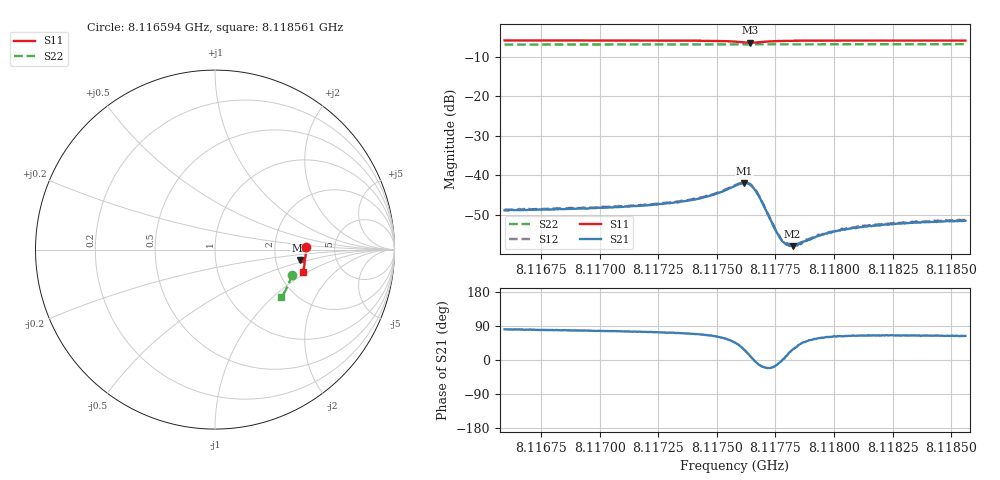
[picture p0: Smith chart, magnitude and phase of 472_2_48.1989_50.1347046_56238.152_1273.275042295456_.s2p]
#  HZ  S  RI  R  50.00
! Rohde & Schwarz Vector Network Analyzer
! Rohde-Schwarz,ZNB20-2Port,1311601062101988,3.16
! Created: UTC 3/20/2024, 11:57:11 AM
! freq[Hz]  re:S11  im:S11  re:S21  im:S21  re:S12  im:S12  re:S22  im:S22
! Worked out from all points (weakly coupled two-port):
!   401 points, 8.116594 GHz to 8.118561 GHz, reference 50 ohm
!   highest |S21| = -41.92 dB at 8.117617 GHz (marker M1); lowest = -57.9 dB at 8.117823 GHz (marker M2)
!   lowest |S11| = -6.5 dB at 8.117641 GHz (marker M3), VSWR 2.81, Z = 137 - j20.4 ohm
!   |S11| at or under -10 dB: nowhere
!   |S22| runs from -6.9 to -6.8 dB; largest |S21 - S12| = 0.00023
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8.1165943e9  0.5071 0.0149  0.00057 0.00358  0.000592 0.00365  0.4275 -0.1413
8.1169237e9  0.5068 -0.0105  0.000815 0.00373  0.000847 0.00383  0.4206 -0.1634
8.117253e9  0.5045 -0.0371  0.00127 0.00416  0.00134 0.00424  0.4126 -0.1848
8.1174398e9  0.5004 -0.0545  0.00207 0.00483  0.00213 0.00487  0.4074 -0.1969
8.1175185e9  0.4954 -0.0634  0.00316 0.00533  0.00322 0.00536  0.4048 -0.2022
8.1175774e9  0.4858 -0.069  0.00513 0.00529  0.00529 0.00535  0.4029 -0.2058
8.1176168e9  0.4753 -0.0657  0.00714 0.00365  0.00731 0.00372  0.4013 -0.2079
8.1176413e9  0.4717 -0.0577  0.00751 0.00146  0.00765 0.00145  0.4004 -0.2089
8.117661e9  0.4742 -0.0507  0.00666 -0.000275  0.00685 -0.000307  0.4003 -0.2098
8.1176807e9  0.48 -0.047  0.00523 -0.00121  0.00536 -0.00128  0.3999 -0.2109
8.1177495e9  0.4947 -0.0526  0.00199 -0.000558  0.00201 -0.000584  0.3985 -0.2155
8.1177691e9  0.4966 -0.0554  0.00162 -0.000174  0.00167 -0.000214  0.398 -0.2168
8.1177839e9  0.4975 -0.0575  0.00144 7.39e-05  0.00148 8e-05  0.3975 -0.2179
8.1177986e9  0.498 -0.0594  0.00131 0.000257  0.00137 0.000307  0.3971 -0.2187
8.1178232e9  0.4987 -0.0626  0.00113 0.000594  0.00116 0.000571  0.3965 -0.2205
8.1178527e9  0.4992 -0.066  0.00105 0.000905  0.00109 0.0009  0.3953 -0.2223
8.1179068e9  0.4993 -0.0718  0.000944 0.00129  0.000944 0.00135  0.3937 -0.2257
8.1179756e9  0.4989 -0.0784  0.000937 0.00165  0.000968 0.00163  0.3913 -0.2299
8.1180297e9  0.4983 -0.0831  0.000947 0.00183  0.000933 0.00184  0.3897 -0.2335
8.1181132e9  0.4973 -0.0902  0.000951 0.00201  0.000985 0.00206  0.3868 -0.2386
8.1182361e9  0.4956 -0.1  0.00101 0.00217  0.00103 0.00222  0.3825 -0.246
8.1185606e9  0.49 -0.1245  0.00119 0.0024  0.00128 0.00243  0.3704 -0.2654
